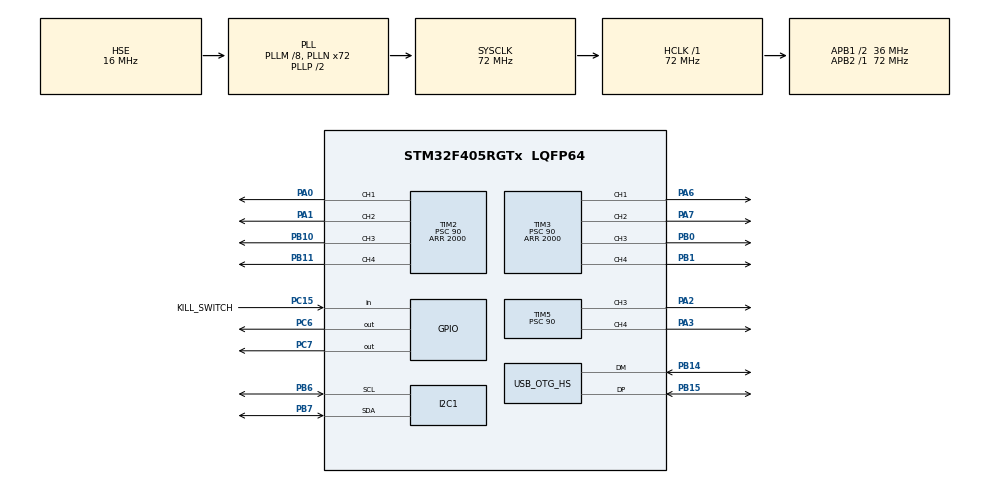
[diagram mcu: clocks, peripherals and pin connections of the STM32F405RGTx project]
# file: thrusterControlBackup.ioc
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FREERTOS.Tasks01=defaultTask,0,128,StartDefaultTask,Default,NULL
Mcu.Family=STM32F4
Mcu.Name=STM32F405RGTx
Mcu.Package=LQFP64
NVIC.OTG_HS_IRQn=true\:5\:0\:false\:false\:true\:true\:false
NVIC.PriorityGroup=NVIC_PRIORITYGROUP_4
NVIC.TIM1_UP_TIM10_IRQn=true\:0\:0\:false\:false\:true\:false\:false
NVIC.TimeBase=TIM1_UP_TIM10_IRQn
NVIC.TimeBaseIP=TIM1
PA0-WKUP.Signal=S_TIM2_CH1_ETR
PA1.Signal=S_TIM2_CH2
PA13.Mode=JTAG_5_pins
PA13.Signal=SYS_JTMS-SWDIO
PA14.Mode=JTAG_5_pins
PA14.Signal=SYS_JTCK-SWCLK
PA15.Mode=JTAG_5_pins
PA15.Signal=SYS_JTDI
PA2.Signal=S_TIM5_CH3
PA3.Signal=S_TIM5_CH4
PA6.Signal=S_TIM3_CH1
PA7.Signal=S_TIM3_CH2
PB0.Signal=S_TIM3_CH3
PB1.Signal=S_TIM3_CH4
PB10.Signal=S_TIM2_CH3
PB11.Signal=S_TIM2_CH4
PB14.Mode=Device_Only_FS
PB14.Signal=USB_OTG_HS_DM
PB15.Mode=Device_Only_FS
PB15.Signal=USB_OTG_HS_DP
PB3.Mode=JTAG_5_pins
PB3.Signal=SYS_JTDO-SWO
PB4.Mode=JTAG_5_pins
PB4.Signal=SYS_JTRST
PB6.GPIO_PuPdOD=GPIO_PULLUP
PB6.Mode=I2C
PB6.Signal=I2C1_SCL
PB7.GPIO_PuPdOD=GPIO_PULLUP
PB7.Mode=I2C
PB7.Signal=I2C1_SDA
PC15-OSC32_OUT.GPIO_Label=KILL_SWITCH
PC15-OSC32_OUT.Signal=GPIO_Input
PC6.Signal=GPIO_Output
PC7.Signal=GPIO_Output
PH0-OSC_IN.Mode=HSE-External-Oscillator
PH0-OSC_IN.Signal=RCC_OSC_IN
PH1-OSC_OUT.Mode=HSE-External-Oscillator
PH1-OSC_OUT.Signal=RCC_OSC_OUT
ProjectManager.HeapSize=0x200
ProjectManager.StackSize=0x400
ProjectManager.TargetToolchain=TrueSTUDIO
RCC.48MHZClocksFreq_Value=48000000
RCC.AHBFreq_Value=72000000
RCC.APB1CLKDivider=RCC_HCLK_DIV2
RCC.APB1Freq_Value=36000000
RCC.APB1TimFreq_Value=72000000
RCC.APB2Freq_Value=72000000
RCC.APB2TimFreq_Value=72000000
RCC.CortexFreq_Value=72000000
RCC.HCLKFreq_Value=72000000
RCC.HSE_VALUE=16000000
RCC.HSI_VALUE=16000000
RCC.LSE_VALUE=32768
RCC.PLLM=8
RCC.PLLN=72
RCC.PLLQ=3
RCC.SYSCLKFreq_VALUE=72000000
RCC.SYSCLKSource=RCC_SYSCLKSOURCE_PLLCLK
RCC.VCOOutputFreq_Value=144000000
SH.S_TIM2_CH1_ETR.0=TIM2_CH1,PWM Generation1 CH1
SH.S_TIM2_CH2.0=TIM2_CH2,PWM Generation2 CH2
SH.S_TIM2_CH3.0=TIM2_CH3,PWM Generation3 CH3
SH.S_TIM2_CH4.0=TIM2_CH4,PWM Generation4 CH4
SH.S_TIM3_CH1.0=TIM3_CH1,PWM Generation1 CH1
SH.S_TIM3_CH2.0=TIM3_CH2,PWM Generation2 CH2
SH.S_TIM3_CH3.0=TIM3_CH3,PWM Generation3 CH3
SH.S_TIM3_CH4.0=TIM3_CH4,PWM Generation4 CH4
SH.S_TIM5_CH3.0=TIM5_CH3,PWM Generation3 CH3
SH.S_TIM5_CH4.0=TIM5_CH4,PWM Generation4 CH4
TIM2.Channel-PWM\ Generation1\ CH1=TIM_CHANNEL_1
TIM2.Channel-PWM\ Generation2\ CH2=TIM_CHANNEL_2
TIM2.Channel-PWM\ Generation3\ CH3=TIM_CHANNEL_3
TIM2.Channel-PWM\ Generation4\ CH4=TIM_CHANNEL_4
TIM2.Period=2000
TIM2.Prescaler=90
TIM2.Pulse-PWM\ Generation1\ CH1=1500
TIM2.Pulse-PWM\ Generation2\ CH2=1500
TIM2.Pulse-PWM\ Generation3\ CH3=1500
TIM2.Pulse-PWM\ Generation4\ CH4=1500
TIM3.Channel-PWM\ Generation1\ CH1=TIM_CHANNEL_1
TIM3.Channel-PWM\ Generation2\ CH2=TIM_CHANNEL_2
TIM3.Channel-PWM\ Generation3\ CH3=TIM_CHANNEL_3
TIM3.Channel-PWM\ Generation4\ CH4=TIM_CHANNEL_4
TIM3.Period=2000
TIM3.Prescaler=90
TIM3.Pulse-PWM\ Generation1\ CH1=1500
TIM3.Pulse-PWM\ Generation2\ CH2=1500
TIM3.Pulse-PWM\ Generation3\ CH3=1500
TIM3.Pulse-PWM\ Generation4\ CH4=1500
TIM5.Channel-PWM\ Generation3\ CH3=TIM_CHANNEL_3
TIM5.Channel-PWM\ Generation4\ CH4=TIM_CHANNEL_4
TIM5.Period=2000
TIM5.Prescaler=90
TIM5.Pulse-PWM\ Generation3\ CH3=1500
TIM5.Pulse-PWM\ Generation4\ CH4=1500
USB_DEVICE.CLASS_NAME_HS=CDC
USB_DEVICE.VirtualMode-CDC_HS=Cdc
USB_DEVICE.VirtualModeHS=Cdc_HS
USB_OTG_HS.VirtualMode-Device_Only_FS=Device_Only_FS
VP_FREERTOS_VS_ENABLE.Mode=Enabled
VP_SYS_VS_tim1.Mode=TIM1
VP_USB_DEVICE_VS_USB_DEVICE_CDC_HS.Mode=CDC_HS
board=thrusterControlBackup

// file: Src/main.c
/**
  ******************************************************************************
  * File Name          : main.c
  * Description        : Main program body
  ******************************************************************************
  * This notice applies to any and all portions of this file
  * that are not between comment pairs USER CODE BEGIN and
  * USER CODE END. Other portions of this file, whether
  * inserted by the user or by software development tools
  * are owned by their respective copyright owners.
  *
  * Copyright (c) 2018 STMicroelectronics International N.V.
  * All rights reserved.
  *
  * Redistribution and use in source and binary forms, with or without
  * modification, are permitted, provided that the following conditions are met:
  *
  * 1. Redistribution of source code must retain the above copyright notice,
  *    this list of conditions and the following disclaimer.
  * 2. Redistributions in binary form must reproduce the above copyright notice,
  *    this list of conditions and the following disclaimer in the documentation
  *    and/or other materials provided with the distribution.
  * 3. Neither the name of STMicroelectronics nor the names of other
  *    contributors to this software may be used to endorse or promote products
  *    derived from this software without specific written permission.
  * 4. This software, including modifications and/or derivative works of this
  *    software, must execute solely and exclusively on microcontroller or
  *    microprocessor devices manufactured by or for STMicroelectronics.
  * 5. Redistribution and use of this software other than as permitted under
  *    this license is void and will automatically terminate your rights under
  *    this license.
  *
  * THIS SOFTWARE IS PROVIDED BY STMICROELECTRONICS AND CONTRIBUTORS "AS IS"
  * AND ANY EXPRESS, IMPLIED OR STATUTORY WARRANTIES, INCLUDING, BUT NOT
  * LIMITED TO, THE IMPLIED WARRANTIES OF MERCHANTABILITY, FITNESS FOR A
  * PARTICULAR PURPOSE AND NON-INFRINGEMENT OF THIRD PARTY INTELLECTUAL PROPERTY
  * RIGHTS ARE DISCLAIMED TO THE FULLEST EXTENT PERMITTED BY LAW. IN NO EVENT
  * SHALL STMICROELECTRONICS OR CONTRIBUTORS BE LIABLE FOR ANY DIRECT, INDIRECT,
  * INCIDENTAL, SPECIAL, EXEMPLARY, OR CONSEQUENTIAL DAMAGES (INCLUDING, BUT NOT
  * LIMITED TO, PROCUREMENT OF SUBSTITUTE GOODS OR SERVICES; LOSS OF USE, DATA,
  * OR PROFITS; OR BUSINESS INTERRUPTION) HOWEVER CAUSED AND ON ANY THEORY OF
  * LIABILITY, WHETHER IN CONTRACT, STRICT LIABILITY, OR TORT (INCLUDING
  * NEGLIGENCE OR OTHERWISE) ARISING IN ANY WAY OUT OF THE USE OF THIS SOFTWARE,
  * EVEN IF ADVISED OF THE POSSIBILITY OF SUCH DAMAGE.
  *
  ******************************************************************************
  */

#include "main.h"
#include "stm32f4xx_hal.h"
#include "cmsis_os.h"
#include "usb_device.h"

/* USER CODE BEGIN Includes */
#include "usbd_cdc_if.h"
/* USER CODE END Includes */

I2C_HandleTypeDef hi2c1;

TIM_HandleTypeDef htim2;
TIM_HandleTypeDef htim3;
TIM_HandleTypeDef htim5;

osThreadId defaultTaskHandle;

/* USER CODE BEGIN PV */
/* Private variables ---------------------------------------------------------*/
TaskHandle_t i2ctask;
TaskHandle_t switchtask;
TaskHandle_t heartbeat;
SemaphoreHandle_t killswitch;
/* USER CODE END PV */

void SystemClock_Config(void);
static void MX_GPIO_Init(void);
static void MX_TIM2_Init(void);
static void MX_TIM3_Init(void);
static void MX_TIM5_Init(void);
static void MX_I2C1_Init(void);
void StartDefaultTask(void const * argument);

void HAL_TIM_MspPostInit(TIM_HandleTypeDef *htim);

/* USER CODE BEGIN PFP */
/* Private function prototypes -----------------------------------------------*/
void vI2CReader(void * pv);
uint8_t crc4(uint16_t n_prom[]);
void calculate(uint32_t D1, uint32_t D2, uint16_t C[8], uint32_t * TEMP, uint32_t * P);
void vHeartbeat(void * pv);
void vSwitchMonitor(void * pv);
/* USER CODE END PFP */

int main(void)
{

  /* MCU Configuration----------------------------------------------------------*/

  /* Reset of all peripherals, Initializes the Flash interface and the Systick. */
  HAL_Init();

  /* Configure the system clock */
  SystemClock_Config();

  /* Initialize all configured peripherals */
  MX_GPIO_Init();
  MX_TIM2_Init();
  MX_TIM3_Init();
  MX_TIM5_Init();
  MX_I2C1_Init();

  /* USER CODE BEGIN RTOS_SEMAPHORES */
  /* add semaphores, ... */
  killswitch = xSemaphoreCreateBinary();
  /* USER CODE END RTOS_SEMAPHORES */

  /* USER CODE BEGIN RTOS_TIMERS */
  /* start timers, add new ones, ... */
  HAL_TIM_PWM_Start(&htim2, TIM_CHANNEL_1);
  HAL_TIM_PWM_Start(&htim2, TIM_CHANNEL_2);
  HAL_TIM_PWM_Start(&htim2, TIM_CHANNEL_3);
  HAL_TIM_PWM_Start(&htim2, TIM_CHANNEL_4);
  HAL_TIM_PWM_Start(&htim3, TIM_CHANNEL_1);
  HAL_TIM_PWM_Start(&htim3, TIM_CHANNEL_2);
  HAL_TIM_PWM_Start(&htim3, TIM_CHANNEL_3);
  HAL_TIM_PWM_Start(&htim3, TIM_CHANNEL_4);
  HAL_TIM_PWM_Start(&htim5, TIM_CHANNEL_3);
  HAL_TIM_PWM_Start(&htim5, TIM_CHANNEL_4);
  /* USER CODE END RTOS_TIMERS */

  /* Create the thread(s) */
  /* definition and creation of defaultTask */
  osThreadDef(defaultTask, StartDefaultTask, osPriorityNormal, 0, 128);
  defaultTaskHandle = osThreadCreate(osThread(defaultTask), NULL);

  /* USER CODE BEGIN RTOS_THREADS */
  /* add threads, ... */
  //xTaskCreate(vI2CReader, "i2c", configMINIMAL_STACK_SIZE, NULL, 1, &i2ctask);
  //xTaskCreate(vSwitchMonitor, "switch", configMINIMAL_STACK_SIZE, NULL, 1, &switchtask);
  xTaskCreate(vHeartbeat, "heartbeat", configMINIMAL_STACK_SIZE, NULL, 1, &heartbeat);
  /* USER CODE END RTOS_THREADS */

  /* Start scheduler */
  osKernelStart();

  /* We should never get here as control is now taken by the scheduler */

  /* Infinite loop */
  while (1)
  {

  }

}

/** System Clock Configuration
*/
void SystemClock_Config(void)
{

  RCC_OscInitTypeDef RCC_OscInitStruct;
  RCC_ClkInitTypeDef RCC_ClkInitStruct;

    /**Configure the main internal regulator output voltage
    */
  __HAL_RCC_PWR_CLK_ENABLE();

  __HAL_PWR_VOLTAGESCALING_CONFIG(PWR_REGULATOR_VOLTAGE_SCALE1);

    /**Initializes the CPU, AHB and APB busses clocks
    */
  RCC_OscInitStruct.OscillatorType = RCC_OSCILLATORTYPE_HSE;
  RCC_OscInitStruct.HSEState = RCC_HSE_ON;
  RCC_OscInitStruct.PLL.PLLState = RCC_PLL_ON;
  RCC_OscInitStruct.PLL.PLLSource = RCC_PLLSOURCE_HSE;
  RCC_OscInitStruct.PLL.PLLM = 8;
  RCC_OscInitStruct.PLL.PLLN = 72;
  RCC_OscInitStruct.PLL.PLLP = RCC_PLLP_DIV2;
  RCC_OscInitStruct.PLL.PLLQ = 3;
  if (HAL_RCC_OscConfig(&RCC_OscInitStruct) != HAL_OK)
  {
    _Error_Handler(__FILE__, __LINE__);
  }

    /**Initializes the CPU, AHB and APB busses clocks
    */
  RCC_ClkInitStruct.ClockType = RCC_CLOCKTYPE_HCLK|RCC_CLOCKTYPE_SYSCLK
                              |RCC_CLOCKTYPE_PCLK1|RCC_CLOCKTYPE_PCLK2;
  RCC_ClkInitStruct.SYSCLKSource = RCC_SYSCLKSOURCE_PLLCLK;
  RCC_ClkInitStruct.AHBCLKDivider = RCC_SYSCLK_DIV1;
  RCC_ClkInitStruct.APB1CLKDivider = RCC_HCLK_DIV2;
  RCC_ClkInitStruct.APB2CLKDivider = RCC_HCLK_DIV1;

  if (HAL_RCC_ClockConfig(&RCC_ClkInitStruct, FLASH_LATENCY_2) != HAL_OK)
  {
    _Error_Handler(__FILE__, __LINE__);
  }

    /**Configure the Systick interrupt time
    */
  HAL_SYSTICK_Config(HAL_RCC_GetHCLKFreq()/1000);

    /**Configure the Systick
    */
  HAL_SYSTICK_CLKSourceConfig(SYSTICK_CLKSOURCE_HCLK);

  /* SysTick_IRQn interrupt configuration */
  HAL_NVIC_SetPriority(SysTick_IRQn, 15, 0);
}

/* I2C1 init function */
static void MX_I2C1_Init(void)
{

  hi2c1.Instance = I2C1;
  hi2c1.Init.ClockSpeed = 100000;
  hi2c1.Init.DutyCycle = I2C_DUTYCYCLE_2;
  hi2c1.Init.OwnAddress1 = 0;
  hi2c1.Init.AddressingMode = I2C_ADDRESSINGMODE_7BIT;
  hi2c1.Init.DualAddressMode = I2C_DUALADDRESS_DISABLE;
  hi2c1.Init.OwnAddress2 = 0;
  hi2c1.Init.GeneralCallMode = I2C_GENERALCALL_DISABLE;
  hi2c1.Init.NoStretchMode = I2C_NOSTRETCH_DISABLE;
  if (HAL_I2C_Init(&hi2c1) != HAL_OK)
  {
    _Error_Handler(__FILE__, __LINE__);
  }

}

/* TIM2 init function */
static void MX_TIM2_Init(void)
{

  TIM_MasterConfigTypeDef sMasterConfig;
  TIM_OC_InitTypeDef sConfigOC;

  htim2.Instance = TIM2;
  htim2.Init.Prescaler = 90;
  htim2.Init.CounterMode = TIM_COUNTERMODE_UP;
  htim2.Init.Period = 2000;
  htim2.Init.ClockDivision = TIM_CLOCKDIVISION_DIV1;
  if (HAL_TIM_PWM_Init(&htim2) != HAL_OK)
  {
    _Error_Handler(__FILE__, __LINE__);
  }

  sMasterConfig.MasterOutputTrigger = TIM_TRGO_RESET;
  sMasterConfig.MasterSlaveMode = TIM_MASTERSLAVEMODE_DISABLE;
  if (HAL_TIMEx_MasterConfigSynchronization(&htim2, &sMasterConfig) != HAL_OK)
  {
    _Error_Handler(__FILE__, __LINE__);
  }

  sConfigOC.OCMode = TIM_OCMODE_PWM1;
  sConfigOC.Pulse = 1500;
  sConfigOC.OCPolarity = TIM_OCPOLARITY_HIGH;
  sConfigOC.OCFastMode = TIM_OCFAST_DISABLE;
  if (HAL_TIM_PWM_ConfigChannel(&htim2, &sConfigOC, TIM_CHANNEL_1) != HAL_OK)
  {
    _Error_Handler(__FILE__, __LINE__);
  }

  if (HAL_TIM_PWM_ConfigChannel(&htim2, &sConfigOC, TIM_CHANNEL_2) != HAL_OK)
  {
    _Error_Handler(__FILE__, __LINE__);
  }

  if (HAL_TIM_PWM_ConfigChannel(&htim2, &sConfigOC, TIM_CHANNEL_3) != HAL_OK)
  {
    _Error_Handler(__FILE__, __LINE__);
  }

  if (HAL_TIM_PWM_ConfigChannel(&htim2, &sConfigOC, TIM_CHANNEL_4) != HAL_OK)
  {
    _Error_Handler(__FILE__, __LINE__);
  }

  HAL_TIM_MspPostInit(&htim2);

}

/* TIM3 init function */
static void MX_TIM3_Init(void)
{

  TIM_MasterConfigTypeDef sMasterConfig;
  TIM_OC_InitTypeDef sConfigOC;

  htim3.Instance = TIM3;
  htim3.Init.Prescaler = 90;
  htim3.Init.CounterMode = TIM_COUNTERMODE_UP;
  htim3.Init.Period = 2000;
  htim3.Init.ClockDivision = TIM_CLOCKDIVISION_DIV1;
  if (HAL_TIM_PWM_Init(&htim3) != HAL_OK)
  {
    _Error_Handler(__FILE__, __LINE__);
  }

  sMasterConfig.MasterOutputTrigger = TIM_TRGO_RESET;
  sMasterConfig.MasterSlaveMode = TIM_MASTERSLAVEMODE_DISABLE;
  if (HAL_TIMEx_MasterConfigSynchronization(&htim3, &sMasterConfig) != HAL_OK)
  {
    _Error_Handler(__FILE__, __LINE__);
  }

  sConfigOC.OCMode = TIM_OCMODE_PWM1;
  sConfigOC.Pulse = 1500;
  sConfigOC.OCPolarity = TIM_OCPOLARITY_HIGH;
  sConfigOC.OCFastMode = TIM_OCFAST_DISABLE;
  if (HAL_TIM_PWM_ConfigChannel(&htim3, &sConfigOC, TIM_CHANNEL_1) != HAL_OK)
  {
    _Error_Handler(__FILE__, __LINE__);
  }

  if (HAL_TIM_PWM_ConfigChannel(&htim3, &sConfigOC, TIM_CHANNEL_2) != HAL_OK)
  {
    _Error_Handler(__FILE__, __LINE__);
  }

  if (HAL_TIM_PWM_ConfigChannel(&htim3, &sConfigOC, TIM_CHANNEL_3) != HAL_OK)
  {
    _Error_Handler(__FILE__, __LINE__);
  }

  if (HAL_TIM_PWM_ConfigChannel(&htim3, &sConfigOC, TIM_CHANNEL_4) != HAL_OK)
  {
    _Error_Handler(__FILE__, __LINE__);
  }

  HAL_TIM_MspPostInit(&htim3);

}

/* TIM5 init function */
static void MX_TIM5_Init(void)
{

  TIM_MasterConfigTypeDef sMasterConfig;
  TIM_OC_InitTypeDef sConfigOC;

  htim5.Instance = TIM5;
  htim5.Init.Prescaler = 90;
  htim5.Init.CounterMode = TIM_COUNTERMODE_UP;
  htim5.Init.Period = 2000;
  htim5.Init.ClockDivision = TIM_CLOCKDIVISION_DIV1;
  if (HAL_TIM_PWM_Init(&htim5) != HAL_OK)
  {
    _Error_Handler(__FILE__, __LINE__);
  }

  sMasterConfig.MasterOutputTrigger = TIM_TRGO_RESET;
  sMasterConfig.MasterSlaveMode = TIM_MASTERSLAVEMODE_DISABLE;
  if (HAL_TIMEx_MasterConfigSynchronization(&htim5, &sMasterConfig) != HAL_OK)
  {
    _Error_Handler(__FILE__, __LINE__);
  }

  sConfigOC.OCMode = TIM_OCMODE_PWM1;
  sConfigOC.Pulse = 1500;
  sConfigOC.OCPolarity = TIM_OCPOLARITY_HIGH;
  sConfigOC.OCFastMode = TIM_OCFAST_DISABLE;
  if (HAL_TIM_PWM_ConfigChannel(&htim5, &sConfigOC, TIM_CHANNEL_3) != HAL_OK)
  {
    _Error_Handler(__FILE__, __LINE__);
  }

  if (HAL_TIM_PWM_ConfigChannel(&htim5, &sConfigOC, TIM_CHANNEL_4) != HAL_OK)
  {
    _Error_Handler(__FILE__, __LINE__);
  }

  HAL_TIM_MspPostInit(&htim5);

}

/** Configure pins as
        * Analog
        * Input
        * Output
        * EVENT_OUT
        * EXTI
*/
static void MX_GPIO_Init(void)
{

  GPIO_InitTypeDef GPIO_InitStruct;

  /* GPIO Ports Clock Enable */
  __HAL_RCC_GPIOC_CLK_ENABLE();
  __HAL_RCC_GPIOH_CLK_ENABLE();
  __HAL_RCC_GPIOA_CLK_ENABLE();
  __HAL_RCC_GPIOB_CLK_ENABLE();

  /*Configure GPIO pin Output Level */
  HAL_GPIO_WritePin(GPIOC, GPIO_PIN_6|GPIO_PIN_7, GPIO_PIN_RESET);

  /*Configure GPIO pin : KILL_SWITCH_Pin */
  GPIO_InitStruct.Pin = KILL_SWITCH_Pin;
  GPIO_InitStruct.Mode = GPIO_MODE_INPUT;
  GPIO_InitStruct.Pull = GPIO_NOPULL;
  HAL_GPIO_Init(KILL_SWITCH_GPIO_Port, &GPIO_InitStruct);

  /*Configure GPIO pins : PC6 PC7 */
  GPIO_InitStruct.Pin = GPIO_PIN_6|GPIO_PIN_7;
  GPIO_InitStruct.Mode = GPIO_MODE_OUTPUT_PP;
  GPIO_InitStruct.Pull = GPIO_NOPULL;
  GPIO_InitStruct.Speed = GPIO_SPEED_FREQ_LOW;
  HAL_GPIO_Init(GPIOC, &GPIO_InitStruct);

}

/* USER CODE BEGIN 4 */
// #### 1500 1500 1500 1500 1500 1500 1500 1500 @@@@

void CDC_Receive(uint8_t* buf, uint32_t len){
	uint8_t start[] = "#";
	uint8_t end[] = "@";
	uint8_t error[] = "malformed input string\r\n";

	if (buf[0] == *start && buf[1] == *start && buf[2] == *start && buf[3] == *start && buf[len - 1] == *end && buf[len - 2] == *end && buf[len - 3] == *end && buf[len - 4] == *end) {
		uint8_t data[4];
		uint16_t value;

		if (/*xSemaphoreTake(killswitch, 10)*/1) {
			for (int i = 1; i <= 1; i++ ) {
				data[0] = buf[i * 4];
				data[1] = buf[i * 4 + 1];
				data[2] = buf[i * 4 + 2];
				data[3] = buf[i * 4 + 3];
				value = atoi((const char *) data);

				CDC_Transmit_HS(start, strlen(start));
				htim2.Instance->CCR1 = value;

//				switch(i) {
//					case 1:
//						htim2.Instance->CCR1 = value;
//						break;
//					case 2:
//						htim2.Instance->CCR3 = value;
//						break;
//					case 3:
//						htim5.Instance->CCR4 = value;
//						break;
//					case 4:
//						htim5.Instance->CCR3 = value;
//						break;
//					case 5:
//						htim2.Instance->CCR4 = value;
//						break;
//					case 6:
//						htim2.Instance->CCR3 = value;
//						break;
//					case 7:
//						htim3.Instance->CCR4 = value;
//						break;
//					case 8:
//						htim3.Instance->CCR2 = value;
//						break;
//					case 9:
//						htim3.Instance->CCR1 = value;
//						break;
//					case 10:
//						htim3.Instance->CCR3 = value;
//						break;
//				}
			}
		}

	} else {
		CDC_Transmit_HS(error, strlen(error));
	}

}

void vI2CReader(void * pv) {

	// this is the reset point, in case of failure to initialize;
	resetI2C: vTaskDelay(100);

	uint16_t address_write = 0xEC;
	uint16_t address_read = 0xED;
	uint8_t reset = 0x1E;
	uint8_t prom_read = 0xA0;
	uint8_t prom_val = prom_read;
	uint8_t read_d1 = 0x4A;
	uint8_t read_d2 = 0x5A;
	uint8_t read_adc = 0x00;

	uint16_t calibration[8];
	uint8_t buffer[3];

	uint32_t d1;
	uint32_t d2;

	uint32_t temp;
	uint32_t pressure;

	HAL_I2C_Master_Transmit(&hi2c1, address_write, &reset, 1, 20);

	vTaskDelay(50);

	for (uint8_t i = 0; i < 7; i++) {

		HAL_I2C_Master_Transmit(&hi2c1, address_write, &prom_val, 1, 20);
		vTaskDelay(20);
		HAL_I2C_Master_Receive(&hi2c1, address_read, buffer, 2, 20);
		calibration[i] = (buffer[0] << 8) | buffer[1];

		prom_val += 2;

	}

	uint8_t crcRead = calibration[0] >> 12;
	uint8_t crcCalc = crc4(calibration);

	uint8_t success[] = "initialization succeeded\r\n";
	uint8_t failure[] = "initialization failed\r\n";

	if (crcRead == crcCalc) {
		CDC_Transmit_HS(success, strlen(success));
	} else {
		CDC_Transmit_HS(failure, strlen(failure));
		goto resetI2C;
	}

	char values[6];
	for(;;) {

		HAL_GPIO_TogglePin(GPIOD, GPIO_PIN_12|GPIO_PIN_13|GPIO_PIN_14);

		HAL_I2C_Master_Transmit(&hi2c1, address_write, &read_d1, 1, 20);
		vTaskDelay(20);
		HAL_I2C_Master_Transmit(&hi2c1, address_write, &read_adc, 1, 20);
		vTaskDelay(20);

		HAL_I2C_Master_Receive(&hi2c1, address_read, buffer, 3, 20);
		d1 = buffer[0];
		d1 = d1 << 8 | buffer[1];
		d1 = d1 << 8 | buffer[2];

		HAL_I2C_Master_Transmit(&hi2c1, address_write, &read_d2, 1, 30);
		vTaskDelay(40);
		HAL_I2C_Master_Transmit(&hi2c1, address_write, &read_adc, 1, 30);
		vTaskDelay(40);

		HAL_I2C_Master_Receive(&hi2c1, address_read, buffer, 3, 30);
		d2 = buffer[0];
		d2 = d2 << 8 | buffer[1];
		d2 = d2 << 8 | buffer[2];

		calculate(d1, d2, calibration, &temp, &pressure);

		itoa(temp, values, 10);
		//if (temp == 2000) goto resetI2C;
		CDC_Transmit_HS(values, strlen(values));
		vTaskDelay(50);
		CDC_Transmit_HS("\r\n", strlen("\r\n"));
		vTaskDelay(50);

		itoa(pressure, values, 10);
		//if (temp == 2000) goto resetI2C;
		CDC_Transmit_HS(values, strlen(values));
		vTaskDelay(50);
		CDC_Transmit_HS("\r\n", strlen("\r\n"));

		vTaskDelay(200);
	}
}

// From the Blue Robotics data sheet, cyclic redundancy check
uint8_t crc4(uint16_t n_prom[]) {
	uint16_t n_rem = 0;

	n_prom[0] = ((n_prom[0]) & 0x0FFF);
	n_prom[7] = 0;

	for ( uint8_t i = 0 ; i < 16; i++ ) {
		if ( i%2 == 1 ) {
			n_rem ^= (uint16_t)((n_prom[i>>1]) & 0x00FF);
		} else {
			n_rem ^= (uint16_t)(n_prom[i>>1] >> 8);
		}
		for ( uint8_t n_bit = 8 ; n_bit > 0 ; n_bit-- ) {
			if ( n_rem & 0x8000 ) {
				n_rem = (n_rem << 1) ^ 0x3000;
			} else {
				n_rem = (n_rem << 1);
			}
		}
	}

	n_rem = ((n_rem >> 12) & 0x000F);

	return n_rem ^ 0x00;
}

void calculate(uint32_t D1, uint32_t D2, uint16_t C[8], uint32_t * TEMP, uint32_t * P) {
	// Given C1-C6 and D1, D2, calculated TEMP and P
	// Do conversion first and then second order temp compensation

	int32_t dT = 0;
	int64_t SENS = 0;
	int64_t OFF = 0;
	int32_t SENSi = 0;
	int32_t OFFi = 0;
	int32_t Ti = 0;
	int64_t OFF2 = 0;
	int64_t SENS2 = 0;

	// Terms called
	dT = D2 - (uint32_t) (C[5])*256l;
	SENS = (int64_t) (C[1])*32768l+((int64_t) (C[3])*dT)/256l;
	OFF = (int64_t) (C[2])*65536l+((int64_t) (C[4])*dT)/128l;
	*P = (D1*SENS/(2097152l)-OFF)/(8192l);

	// Temp conversion
	*TEMP = 2000l + (int64_t) (dT)*C[6]/8388608LL;

	//Second order compensation
	if((*TEMP/100)<20){         //Low temp
		Ti = (3*(int64_t)(dT)*(int64_t)(dT))/(8589934592LL);
		OFFi = (3*(*TEMP-2000)*(*TEMP-2000))/2;
		SENSi = (5*(*TEMP-2000)*(*TEMP-2000))/8;

		if((*TEMP/100)<-15){    //Very low temp
			OFFi = OFFi+7*(*TEMP+1500l)*(*TEMP+1500l);
			SENSi = SENSi+4*(*TEMP+1500l)*(*TEMP+1500l);
		}
	}
	else if((*TEMP/100)>=20){    //High temp
		Ti = 2*(dT*dT)/(137438953472LL);
		OFFi = (1*(*TEMP-2000)*(*TEMP-2000))/16;
		SENSi = 0;
	}

	OFF2 = OFF-OFFi;           //Calculate pressure and temp second order
	SENS2 = SENS-SENSi;

	*TEMP = (*TEMP-Ti);
	*P = (((D1*SENS2)/2097152l-OFF2)/8192l)/10;

}

void vHeartbeat(void * pv) {

	for (;;) {
		HAL_GPIO_TogglePin(GPIOC, GPIO_PIN_7);
		vTaskDelay(750);
	}
}

void vSwitchMonitor(void * pv) {

	for (;;) {
		if (HAL_GPIO_ReadPin(KILL_SWITCH_GPIO_Port, KILL_SWITCH_Pin) == GPIO_PIN_SET) {
			xSemaphoreGive(killswitch);
			HAL_GPIO_WritePin(GPIOC, GPIO_PIN_6, GPIO_PIN_RESET);
		} else {
			HAL_GPIO_WritePin(GPIOC, GPIO_PIN_6, GPIO_PIN_SET);
			htim2.Instance->CCR1 = 1500;
			htim2.Instance->CCR3 = 1500;
			htim5.Instance->CCR4 = 1500;
			htim5.Instance->CCR3 = 1500;
			htim2.Instance->CCR4 = 1500;
			htim2.Instance->CCR3 = 1500;
			htim3.Instance->CCR4 = 1500;
			htim3.Instance->CCR2 = 1500;
			htim3.Instance->CCR1 = 1500;
			htim3.Instance->CCR3 = 1500;
		}

		vTaskDelay(10);
	}
}

/* USER CODE END 4 */

/* StartDefaultTask function */
void StartDefaultTask(void const * argument)
{
  /* init code for USB_DEVICE */
  MX_USB_DEVICE_Init();

  /* USER CODE BEGIN 5 */
  /* Infinite loop */
  for(;;)
  {
    osDelay(100);
  }
  /* USER CODE END 5 */
}

void HAL_TIM_PeriodElapsedCallback(TIM_HandleTypeDef *htim)
{
  if (htim->Instance == TIM1) {
    HAL_IncTick();
  }
}

void _Error_Handler(char * file, int line)
{
  while(1)
  {
  }
}

/************************ (C) COPYRIGHT STMicroelectronics *****END OF FILE****/
